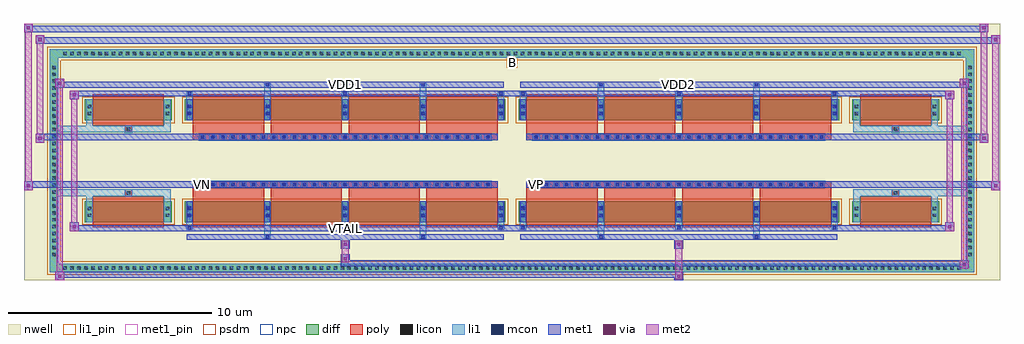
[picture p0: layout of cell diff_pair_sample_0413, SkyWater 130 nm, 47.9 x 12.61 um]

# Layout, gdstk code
import gdstk
lib = gdstk.Library(unit=1e-6, precision=5e-09)
def R(c, l, rs):  # rectangles x0, y0, x1, y1
    for r in rs: c.add(gdstk.rectangle(r[:2], r[2:], *l))
def A(c, l, x, y, w, h, nx, ny, dx, dy):  # array of equal rectangles
    R(c, l, [(x+i*dx, y+j*dy, x+i*dx+w, y+j*dy+h) for i in range(nx) for j in range(ny)])
def P(c, l, *ps):  # polygons
    for p in ps: c.add(gdstk.Polygon(p, *l))
nwell = (64, 20)
diff = (65, 20)
poly = (66, 20)
licon = (66, 44)
li1_pin = (67, 16)
li1 = (67, 20)
mcon = (67, 44)
met1_pin = (68, 16)
met1 = (68, 20)
via = (68, 44)
met2 = (69, 20)
psdm = (94, 20)
npc = (95, 20)

diff_pair_sample_0413 = lib.new_cell('diff_pair_sample_0413')
R(diff_pair_sample_0413, nwell, [(-23.95,-5.87,23.95,6.74), (-21.27,-4.06,-0.01,-0.8), (0.01,-4.06,21.27,-0.8), (-21.27,0.8,-0.01,4.06), (0.01,0.8,21.27,4.06)])
A(diff_pair_sample_0413, diff, -22.135, -5.47, 0.41, 0.41, 130, 2, 0.34, 10.53)
A(diff_pair_sample_0413, diff, -22.68, -4.795, 0.41, 0.41, 1, 28, 0, 0.34)
A(diff_pair_sample_0413, diff, 22.27, -4.795, 0.41, 0.41, 1, 28, 0, 0.34)
R(diff_pair_sample_0413, diff, [(-22.135,-5.47,22.135,-5.06), (-22.68,-4.795,-22.27,4.795), (22.27,-4.795,22.68,4.795), (-20.96,-3.015,-16.69,-1.985), (-16.05,-3.015,-0.32,-1.985), (0.32,-3.015,16.05,-1.985), (16.69,-3.015,20.96,-1.985), (-20.96,1.985,-16.69,3.015), (-16.05,1.985,-0.32,3.015), (0.32,1.985,16.05,3.015), (16.69,1.985,20.96,3.015), (-22.135,5.06,22.135,5.47)])
P(diff_pair_sample_0413, diff, [(22.68,5.47),(-22.68,5.47),(-22.68,-5.06),(-22.27,-5.06),(-22.27,5.06),(22.27,5.06),(22.27,-5.06),(-22.27,-5.06),(-22.68,-5.06),(-22.68,-5.47),(22.68,-5.47)])
A(diff_pair_sample_0413, poly, -15.66, -3.265, 3.49, 1.53, 4, 2, 3.82, 5)
A(diff_pair_sample_0413, poly, 0.71, -3.265, 3.49, 1.53, 4, 2, 3.82, 5)
A(diff_pair_sample_0413, poly, -15.66, -1.735, 3.49, 0.405, 4, 2, 3.82, 3.065)
A(diff_pair_sample_0413, poly, 0.71, -1.735, 3.49, 0.405, 4, 2, 3.82, 3.065)
A(diff_pair_sample_0413, poly, -15.35, -1.33, 0.33, 0.33, 29, 2, 0.5, 2.33)
A(diff_pair_sample_0413, poly, 1.02, -1.33, 0.33, 0.33, 29, 2, 0.5, 2.33)
R(diff_pair_sample_0413, poly, [(-20.57,-3.265,-17.08,-1.735), (17.08,-3.265,20.57,-1.735), (-18.99,-1.735,-18.66,-1.405), (-18.99,-1.735,-18.66,-1.405), (18.66,-1.735,18.99,-1.405), (18.66,-1.735,18.99,-1.405), (-15.66,-1.33,-0.71,-1), (0.71,-1.33,15.66,-1), (-15.66,1,-0.71,1.33), (0.71,1,15.66,1.33), (-18.99,1.405,-18.66,1.735), (-18.99,1.405,-18.66,1.735), (18.66,1.405,18.99,1.735), (18.66,1.405,18.99,1.735), (-20.57,1.735,-17.08,3.265), (17.08,1.735,20.57,3.265)])
A(diff_pair_sample_0413, licon, -22.015, -5.35, 0.17, 0.17, 130, 2, 0.34, 10.53)
A(diff_pair_sample_0413, licon, -22.56, -4.675, 0.17, 0.17, 1, 28, 0, 0.34)
A(diff_pair_sample_0413, licon, 22.39, -4.675, 0.17, 0.17, 1, 28, 0, 0.34)
A(diff_pair_sample_0413, licon, -15.91, -2.755, 0.17, 0.17, 5, 2, 3.82, 0.34)
A(diff_pair_sample_0413, licon, 0.46, -2.755, 0.17, 0.17, 5, 2, 3.82, 0.34)
A(diff_pair_sample_0413, licon, -15.27, -1.25, 0.17, 0.17, 29, 2, 0.5, 2.33)
A(diff_pair_sample_0413, licon, 1.1, -1.25, 0.17, 0.17, 29, 2, 0.5, 2.33)
A(diff_pair_sample_0413, licon, -15.91, 2.245, 0.17, 0.17, 5, 2, 3.82, 0.34)
A(diff_pair_sample_0413, licon, 0.46, 2.245, 0.17, 0.17, 5, 2, 3.82, 0.34)
R(diff_pair_sample_0413, licon, [(-20.82,-2.755,-20.65,-2.585), (-17,-2.755,-16.83,-2.585), (16.83,-2.755,17,-2.585), (20.65,-2.755,20.82,-2.585), (-20.82,-2.415,-20.65,-2.245), (-17,-2.415,-16.83,-2.245), (16.83,-2.415,17,-2.245), (20.65,-2.415,20.82,-2.245), (-18.91,-1.655,-18.74,-1.485), (18.74,-1.655,18.91,-1.485), (-18.91,1.485,-18.74,1.655), (18.74,1.485,18.91,1.655), (-20.82,2.245,-20.65,2.415), (-17,2.245,-16.83,2.415), (16.83,2.245,17,2.415), (20.65,2.245,20.82,2.415), (-20.82,2.585,-20.65,2.755), (-17,2.585,-16.83,2.755), (16.83,2.585,17,2.755), (20.65,2.585,20.82,2.755)])
R(diff_pair_sample_0413, li1_pin, [(-0.25,4.56,0.25,5.06)])
A(diff_pair_sample_0413, li1, -22.095, -5.43, 0.33, 0.33, 130, 2, 0.34, 10.53)
A(diff_pair_sample_0413, li1, -22.64, -4.755, 0.33, 0.33, 1, 28, 0, 0.34)
A(diff_pair_sample_0413, li1, 22.31, -4.755, 0.33, 0.33, 1, 28, 0, 0.34)
A(diff_pair_sample_0413, li1, -15.99, -3.39, 0.33, 0.375, 3, 2, 7.64, 6.405)
A(diff_pair_sample_0413, li1, -15.91, -3.39, 0.17, 0.17, 3, 2, 7.64, 6.61)
A(diff_pair_sample_0413, li1, 0.38, -3.39, 0.33, 0.375, 3, 2, 7.64, 6.405)
A(diff_pair_sample_0413, li1, 0.46, -3.39, 0.17, 0.17, 3, 2, 7.64, 6.61)
A(diff_pair_sample_0413, li1, -15.99, -3.015, 0.33, 1.03, 5, 2, 3.82, 5)
A(diff_pair_sample_0413, li1, 0.38, -3.015, 0.33, 1.03, 5, 2, 3.82, 5)
A(diff_pair_sample_0413, li1, -15.99, -2.835, 0.33, 0.33, 5, 2, 3.82, 0.34)
A(diff_pair_sample_0413, li1, 0.38, -2.835, 0.33, 0.33, 5, 2, 3.82, 0.34)
A(diff_pair_sample_0413, li1, -15.91, -2.765, 0.17, 0.17, 5, 2, 3.82, 0.36)
A(diff_pair_sample_0413, li1, -15.91, -2.765, 0.17, 0.53, 5, 2, 3.82, 5)
A(diff_pair_sample_0413, li1, 0.46, -2.765, 0.17, 0.17, 5, 2, 3.82, 0.36)
A(diff_pair_sample_0413, li1, 0.46, -2.765, 0.17, 0.53, 5, 2, 3.82, 5)
A(diff_pair_sample_0413, li1, -15.35, -1.33, 0.33, 0.33, 29, 2, 0.5, 2.33)
A(diff_pair_sample_0413, li1, 1.02, -1.33, 0.33, 0.33, 29, 2, 0.5, 2.33)
A(diff_pair_sample_0413, li1, -15.99, 2.165, 0.33, 0.33, 5, 2, 3.82, 0.34)
A(diff_pair_sample_0413, li1, 0.38, 2.165, 0.33, 0.33, 5, 2, 3.82, 0.34)
A(diff_pair_sample_0413, li1, -15.91, 2.235, 0.17, 0.17, 5, 2, 3.82, 0.36)
A(diff_pair_sample_0413, li1, 0.46, 2.235, 0.17, 0.17, 5, 2, 3.82, 0.36)
R(diff_pair_sample_0413, li1, [(-22.68,-5.47,-22.27,-5.06), (-22.68,-5.47,-22.27,-5.06), (-22.27,-5.47,22.27,-5.06), (22.27,-5.47,22.68,-5.06), (22.27,-5.47,22.68,-5.06), (-22.68,-5.06,-22.27,5.06), (22.27,-5.06,22.68,5.06), (-12.17,-3.82,-11.84,-3.015), (-12.09,-3.82,-11.92,-3.65), (-4.53,-3.82,-4.2,-3.015), (-4.45,-3.82,-4.28,-3.65), (4.2,-3.82,4.53,-3.015), (4.28,-3.82,4.45,-3.65), (11.84,-3.82,12.17,-3.015), (11.92,-3.82,12.09,-3.65), (-20.9,-3.015,-20.57,-1.985), (-17.08,-3.015,-16.75,-1.985), (16.75,-3.015,17.08,-1.985), (20.57,-3.015,20.9,-1.985), (-20.9,-2.835,-20.57,-2.505), (-17.08,-2.835,-16.75,-2.505), (16.75,-2.835,17.08,-2.505), (20.57,-2.835,20.9,-2.505), (-20.9,-2.495,-20.57,-2.165), (-17.08,-2.495,-16.75,-2.165), (16.75,-2.495,17.08,-2.165), (20.57,-2.495,20.9,-2.165), (-20.9,-1.985,-20.57,-1.405), (-17.08,-1.985,-16.75,-1.405), (16.75,-1.985,17.08,-1.405), (20.57,-1.985,20.9,-1.405), (-22.68,-1.735,-18.99,-1.405), (-20.9,-1.735,-18.99,-1.405), (-18.99,-1.735,-18.66,-1.405), (-18.66,-1.735,-16.75,-1.405), (16.75,-1.735,18.66,-1.405), (18.66,-1.735,18.99,-1.405), (18.66,-1.735,22.68,-1.405), (18.99,-1.735,20.9,-1.405), (-22.68,1.405,-18.99,1.735), (-20.9,1.405,-18.99,1.735), (-20.9,1.405,-20.57,1.985), (-18.99,1.405,-18.66,1.735), (-18.66,1.405,-16.75,1.735), (-17.08,1.405,-16.75,1.985), (16.75,1.405,18.66,1.735), (16.75,1.405,17.08,1.985), (18.66,1.405,18.99,1.735), (18.66,1.405,22.68,1.735), (18.99,1.405,20.9,1.735), (20.57,1.405,20.9,1.985), (-20.9,1.985,-20.57,3.015), (-17.08,1.985,-16.75,3.015), (16.75,1.985,17.08,3.015), (20.57,1.985,20.9,3.015), (-20.9,2.165,-20.57,2.495), (-17.08,2.165,-16.75,2.495), (16.75,2.165,17.08,2.495), (20.57,2.165,20.9,2.495), (-20.9,2.505,-20.57,2.835), (-17.08,2.505,-16.75,2.835), (16.75,2.505,17.08,2.835), (20.57,2.505,20.9,2.835), (-12.17,3.015,-11.84,3.82), (-4.53,3.015,-4.2,3.82), (4.2,3.015,4.53,3.82), (11.84,3.015,12.17,3.82), (-12.09,3.65,-11.92,3.82), (-4.45,3.65,-4.28,3.82), (4.28,3.65,4.45,3.82), (11.92,3.65,12.09,3.82), (-22.68,5.06,-22.27,5.47), (-22.68,5.06,-22.27,5.47), (-22.27,5.06,22.27,5.47), (22.27,5.06,22.68,5.47), (22.27,5.06,22.68,5.47)])
A(diff_pair_sample_0413, mcon, -15.91, -3.39, 0.17, 0.17, 3, 2, 7.64, 6.61)
A(diff_pair_sample_0413, mcon, 0.46, -3.39, 0.17, 0.17, 3, 2, 7.64, 6.61)
A(diff_pair_sample_0413, mcon, -15.91, -2.765, 0.17, 0.17, 5, 2, 3.82, 0.36)
A(diff_pair_sample_0413, mcon, 0.46, -2.765, 0.17, 0.17, 5, 2, 3.82, 0.36)
A(diff_pair_sample_0413, mcon, -15.27, -1.25, 0.17, 0.17, 29, 2, 0.5, 2.33)
A(diff_pair_sample_0413, mcon, 1.1, -1.25, 0.17, 0.17, 29, 2, 0.5, 2.33)
A(diff_pair_sample_0413, mcon, -15.91, 2.235, 0.17, 0.17, 5, 2, 3.82, 0.36)
A(diff_pair_sample_0413, mcon, 0.46, 2.235, 0.17, 0.17, 5, 2, 3.82, 0.36)
R(diff_pair_sample_0413, mcon, [(-12.09,-3.82,-11.92,-3.65), (-4.45,-3.82,-4.28,-3.65), (4.28,-3.82,4.45,-3.65), (11.92,-3.82,12.09,-3.65), (-12.09,3.65,-11.92,3.82), (-4.45,3.65,-4.28,3.82), (4.28,3.65,4.45,3.82), (11.92,3.65,12.09,3.82)])
R(diff_pair_sample_0413, met1_pin, [(-8.32,-3.43,-8.05,-3.16), (-15.32,-1.29,-15.05,-1.02), (1.05,-1.29,1.32,-1.02), (-8.32,3.61,-8.05,3.88), (8.05,3.61,8.32,3.88)])
A(diff_pair_sample_0413, met1, -15.97, -3.45, 0.29, 0.29, 3, 2, 7.64, 6.61)
A(diff_pair_sample_0413, met1, 0.4, -3.45, 0.29, 0.29, 3, 2, 7.64, 6.61)
A(diff_pair_sample_0413, met1, -15.97, -3.015, 0.29, 1.03, 5, 2, 3.82, 5)
A(diff_pair_sample_0413, met1, 0.4, -3.015, 0.29, 1.03, 5, 2, 3.82, 5)
A(diff_pair_sample_0413, met1, -15.97, -2.825, 0.29, 0.29, 5, 2, 3.82, 0.36)
A(diff_pair_sample_0413, met1, 0.4, -2.825, 0.29, 0.29, 5, 2, 3.82, 0.36)
A(diff_pair_sample_0413, met1, -15.33, -1.31, 0.29, 0.29, 29, 2, 0.5, 2.33)
A(diff_pair_sample_0413, met1, 1.04, -1.31, 0.29, 0.29, 29, 2, 0.5, 2.33)
A(diff_pair_sample_0413, met1, -15.97, 2.175, 0.29, 0.29, 5, 2, 3.82, 0.36)
A(diff_pair_sample_0413, met1, 0.4, 2.175, 0.29, 0.29, 5, 2, 3.82, 0.36)
R(diff_pair_sample_0413, met1, [(-22.41,-5.87,-21.98,-5.44), (7.97,-5.87,8.4,-5.44), (-22.41,-5.73,8.4,-5.44), (21.98,-5.3,22.41,-4.87), (-8.4,-5.16,22.41,-4.87), (-8.4,-5.02,-7.97,-4.59), (-8.4,-4.31,-7.97,-3.88), (7.97,-4.31,8.4,-3.88), (-15.97,-3.88,-0.4,-3.59), (-12.15,-3.88,-11.86,-3.59), (-4.51,-3.88,-4.22,-3.59), (0.4,-3.88,15.97,-3.59), (4.22,-3.88,4.51,-3.59), (11.86,-3.88,12.15,-3.59), (-21.7,-3.45,-21.27,-3.02), (-21.7,-3.45,-15.97,-3.16), (-15.97,-3.45,-0.4,-3.16), (-0.4,-3.45,0.4,-3.16), (0.4,-3.45,15.97,-3.16), (15.97,-3.45,21.7,-3.16), (21.27,-3.45,21.7,-3.02), (-23.95,-1.43,-23.52,-1), (23.52,-1.43,23.95,-1), (-23.95,-1.33,-0.71,-1), (-15.66,-1.33,-0.71,-1), (0.71,-1.33,15.66,-1), (0.71,-1.33,23.95,-1), (-23.38,0.9,-22.95,1.33), (22.95,0.9,23.38,1.33), (-23.38,1,-15.66,1.33), (-15.66,1,-0.71,1.33), (0.71,1,15.66,1.33), (15.66,1,23.38,1.33), (-21.7,3.02,-21.27,3.45), (21.27,3.02,21.7,3.45), (-21.7,3.16,-15.97,3.45), (-15.97,3.16,-0.4,3.45), (-0.4,3.16,0.4,3.45), (0.4,3.16,15.97,3.45), (15.97,3.16,21.7,3.45), (-22.41,3.59,-21.98,4.02), (-22.41,3.59,-15.97,3.88), (-15.97,3.59,-0.4,3.88), (-12.15,3.59,-11.86,3.88), (-4.51,3.59,-4.22,3.88), (0.4,3.59,15.97,3.88), (4.22,3.59,4.51,3.88), (11.86,3.59,12.15,3.88), (15.97,3.59,22.41,3.88), (21.98,3.59,22.41,4.02), (-23.38,5.74,-22.95,6.17), (-23.38,5.74,-21.27,6.07), (-21.27,5.74,21.27,6.07), (21.27,5.74,23.95,6.07), (23.52,5.74,23.95,6.17), (-23.95,6.31,-23.52,6.74), (-23.95,6.31,-21.27,6.64), (-21.27,6.31,21.27,6.64), (21.27,6.31,23.38,6.64), (22.95,6.31,23.38,6.74)])
R(diff_pair_sample_0413, via, [(-22.27,-5.73,-22.12,-5.58), (8.11,-5.73,8.26,-5.58), (22.12,-5.16,22.27,-5.01), (-8.26,-4.88,-8.11,-4.73), (-8.26,-4.17,-8.11,-4.02), (8.11,-4.17,8.26,-4.02), (-21.56,-3.31,-21.41,-3.16), (21.41,-3.31,21.56,-3.16), (-23.81,-1.29,-23.66,-1.14), (23.66,-1.29,23.81,-1.14), (-23.24,1.04,-23.09,1.19), (23.09,1.04,23.24,1.19), (-21.56,3.16,-21.41,3.31), (21.41,3.16,21.56,3.31), (-22.27,3.73,-22.12,3.88), (22.12,3.73,22.27,3.88), (-23.24,5.88,-23.09,6.03), (23.66,5.88,23.81,6.03), (-23.81,6.45,-23.66,6.6), (23.09,6.45,23.24,6.6)])
R(diff_pair_sample_0413, met2, [(-22.41,-5.87,-21.98,-5.44), (-22.34,-5.87,-22.05,4.02), (-22.05,-5.87,-21.98,-5.44), (-22.36,-5.82,-22.03,-5.49), (8.02,-5.82,8.35,-5.49), (8.02,-5.49,8.35,-4.26), (21.98,-5.3,22.41,-4.87), (22.05,-5.3,22.34,4.02), (22.34,-5.3,22.41,-4.87), (22.03,-5.25,22.36,-4.92), (-8.35,-4.97,-8.02,-4.64), (-8.35,-4.64,-8.02,-4.26), (-8.35,-4.26,-8.02,-3.93), (8.02,-4.26,8.35,-3.93), (-21.7,-3.45,-21.27,-3.02), (-21.63,-3.45,-21.34,3.45), (-21.34,-3.45,-21.27,-3.02), (21.27,-3.45,21.7,-3.02), (21.34,-3.45,21.63,3.45), (21.63,-3.45,21.7,-3.02), (-21.65,-3.4,-21.32,-3.07), (21.32,-3.4,21.65,-3.07), (-23.95,-1.43,-23.52,-1), (-23.9,-1.43,-23.57,6.74), (-23.57,-1.43,-23.52,-1), (23.52,-1.43,23.95,-1), (23.57,-1.43,23.9,6.17), (23.9,-1.43,23.95,-1), (-23.9,-1.38,-23.57,-1.05), (23.57,-1.38,23.9,-1.05), (-23.38,0.9,-22.95,1.33), (-23.33,0.9,-23,6.17), (-23,0.9,-22.95,1.33), (22.95,0.9,23.38,1.33), (23,0.9,23.33,6.74), (23.33,0.9,23.38,1.33), (-23.33,0.95,-23,1.28), (23,0.95,23.33,1.28), (-21.7,3.02,-21.27,3.45), (-21.34,3.02,-21.27,3.45), (21.27,3.02,21.7,3.45), (21.63,3.02,21.7,3.45), (-21.65,3.07,-21.32,3.4), (21.32,3.07,21.65,3.4), (-22.41,3.59,-21.98,4.02), (-22.05,3.59,-21.98,4.02), (21.98,3.59,22.41,4.02), (22.34,3.59,22.41,4.02), (-22.36,3.64,-22.03,3.97), (22.03,3.64,22.36,3.97), (-23.38,5.74,-22.95,6.17), (-23,5.74,-22.95,6.17), (23.52,5.74,23.95,6.17), (23.9,5.74,23.95,6.17), (-23.33,5.79,-23,6.12), (23.57,5.79,23.9,6.12), (-23.95,6.31,-23.52,6.74), (-23.57,6.31,-23.52,6.74), (22.95,6.31,23.38,6.74), (23.33,6.31,23.38,6.74), (-23.9,6.36,-23.57,6.69), (23,6.36,23.33,6.69)])
R(diff_pair_sample_0413, psdm, [(-21.09,-3.145,-16.56,-1.855), (-16.18,-3.145,-0.19,-1.855), (0.19,-3.145,16.18,-1.855), (16.56,-3.145,21.09,-1.855), (-21.09,1.855,-16.56,3.145), (-16.18,1.855,-0.19,3.145), (0.19,1.855,16.18,3.145), (16.56,1.855,21.09,3.145)])
P(diff_pair_sample_0413, psdm, [(22.81,5.6),(-22.81,5.6),(-22.81,-4.93),(-22.14,-4.93),(-22.14,4.93),(22.14,4.93),(22.14,-4.93),(-22.14,-4.93),(-22.81,-4.93),(-22.81,-5.6),(22.81,-5.6)])
A(diff_pair_sample_0413, npc, -15.37, -1.35, 0.37, 0.37, 29, 2, 0.5, 2.33)
A(diff_pair_sample_0413, npc, 1, -1.35, 0.37, 0.37, 29, 2, 0.5, 2.33)
R(diff_pair_sample_0413, npc, [(-19.01,-1.755,-18.64,-1.385), (18.64,-1.755,19.01,-1.385), (-15.37,-1.35,-14.5,-0.98), (-15.37,-1.35,-14.5,-0.98), (-14.87,-1.35,-14,-0.98), (-14.87,-1.35,-14,-0.98), (-14.37,-1.35,-13.5,-0.98), (-14.37,-1.35,-13.5,-0.98), (-13.87,-1.35,-13,-0.98), (-13.87,-1.35,-13,-0.98), (-13.37,-1.35,-12.5,-0.98), (-13.37,-1.35,-12.5,-0.98), (-12.87,-1.35,-12,-0.98), (-12.87,-1.35,-12,-0.98), (-12.37,-1.35,-11.5,-0.98), (-12.37,-1.35,-11.5,-0.98), (-11.87,-1.35,-11,-0.98), (-11.87,-1.35,-11,-0.98), (-11.37,-1.35,-10.5,-0.98), (-11.37,-1.35,-10.5,-0.98), (-10.87,-1.35,-10,-0.98), (-10.87,-1.35,-10,-0.98), (-10.37,-1.35,-9.5,-0.98), (-10.37,-1.35,-9.5,-0.98), (-9.87,-1.35,-9,-0.98), (-9.87,-1.35,-9,-0.98), (-9.37,-1.35,-8.5,-0.98), (-9.37,-1.35,-8.5,-0.98), (-8.87,-1.35,-8,-0.98), (-8.87,-1.35,-8,-0.98), (-8.37,-1.35,-7.5,-0.98), (-8.37,-1.35,-7.5,-0.98), (-7.87,-1.35,-7,-0.98), (-7.87,-1.35,-7,-0.98), (-7.37,-1.35,-6.5,-0.98), (-7.37,-1.35,-6.5,-0.98), (-6.87,-1.35,-6,-0.98), (-6.87,-1.35,-6,-0.98), (-6.37,-1.35,-5.5,-0.98), (-6.37,-1.35,-5.5,-0.98), (-5.87,-1.35,-5,-0.98), (-5.87,-1.35,-5,-0.98), (-5.37,-1.35,-4.5,-0.98), (-5.37,-1.35,-4.5,-0.98), (-4.87,-1.35,-4,-0.98), (-4.87,-1.35,-4,-0.98), (-4.37,-1.35,-3.5,-0.98), (-4.37,-1.35,-3.5,-0.98), (-3.87,-1.35,-3,-0.98), (-3.87,-1.35,-3,-0.98), (-3.37,-1.35,-2.5,-0.98), (-3.37,-1.35,-2.5,-0.98), (-2.87,-1.35,-2,-0.98), (-2.87,-1.35,-2,-0.98), (-2.37,-1.35,-1.5,-0.98), (-2.37,-1.35,-1.5,-0.98), (-1.87,-1.35,-1,-0.98), (-1.87,-1.35,-1,-0.98), (1,-1.35,1.87,-0.98), (1,-1.35,1.87,-0.98), (1.5,-1.35,2.37,-0.98), (1.5,-1.35,2.37,-0.98), (2,-1.35,2.87,-0.98), (2,-1.35,2.87,-0.98), (2.5,-1.35,3.37,-0.98), (2.5,-1.35,3.37,-0.98), (3,-1.35,3.87,-0.98), (3,-1.35,3.87,-0.98), (3.5,-1.35,4.37,-0.98), (3.5,-1.35,4.37,-0.98), (4,-1.35,4.87,-0.98), (4,-1.35,4.87,-0.98), (4.5,-1.35,5.37,-0.98), (4.5,-1.35,5.37,-0.98), (5,-1.35,5.87,-0.98), (5,-1.35,5.87,-0.98), (5.5,-1.35,6.37,-0.98), (5.5,-1.35,6.37,-0.98), (6,-1.35,6.87,-0.98), (6,-1.35,6.87,-0.98), (6.5,-1.35,7.37,-0.98), (6.5,-1.35,7.37,-0.98), (7,-1.35,7.87,-0.98), (7,-1.35,7.87,-0.98), (7.5,-1.35,8.37,-0.98), (7.5,-1.35,8.37,-0.98), (8,-1.35,8.87,-0.98), (8,-1.35,8.87,-0.98), (8.5,-1.35,9.37,-0.98), (8.5,-1.35,9.37,-0.98), (9,-1.35,9.87,-0.98), (9,-1.35,9.87,-0.98), (9.5,-1.35,10.37,-0.98), (9.5,-1.35,10.37,-0.98), (10,-1.35,10.87,-0.98), (10,-1.35,10.87,-0.98), (10.5,-1.35,11.37,-0.98), (10.5,-1.35,11.37,-0.98), (11,-1.35,11.87,-0.98), (11,-1.35,11.87,-0.98), (11.5,-1.35,12.37,-0.98), (11.5,-1.35,12.37,-0.98), (12,-1.35,12.87,-0.98), (12,-1.35,12.87,-0.98), (12.5,-1.35,13.37,-0.98), (12.5,-1.35,13.37,-0.98), (13,-1.35,13.87,-0.98), (13,-1.35,13.87,-0.98), (13.5,-1.35,14.37,-0.98), (13.5,-1.35,14.37,-0.98), (14,-1.35,14.87,-0.98), (14,-1.35,14.87,-0.98), (14.5,-1.35,15.37,-0.98), (14.5,-1.35,15.37,-0.98), (-15.37,0.98,-14.5,1.35), (-15.37,0.98,-14.5,1.35), (-14.87,0.98,-14,1.35), (-14.87,0.98,-14,1.35), (-14.37,0.98,-13.5,1.35), (-14.37,0.98,-13.5,1.35), (-13.87,0.98,-13,1.35), (-13.87,0.98,-13,1.35), (-13.37,0.98,-12.5,1.35), (-13.37,0.98,-12.5,1.35), (-12.87,0.98,-12,1.35), (-12.87,0.98,-12,1.35), (-12.37,0.98,-11.5,1.35), (-12.37,0.98,-11.5,1.35), (-11.87,0.98,-11,1.35), (-11.87,0.98,-11,1.35), (-11.37,0.98,-10.5,1.35), (-11.37,0.98,-10.5,1.35), (-10.87,0.98,-10,1.35), (-10.87,0.98,-10,1.35), (-10.37,0.98,-9.5,1.35), (-10.37,0.98,-9.5,1.35), (-9.87,0.98,-9,1.35), (-9.87,0.98,-9,1.35), (-9.37,0.98,-8.5,1.35), (-9.37,0.98,-8.5,1.35), (-8.87,0.98,-8,1.35), (-8.87,0.98,-8,1.35), (-8.37,0.98,-7.5,1.35), (-8.37,0.98,-7.5,1.35), (-7.87,0.98,-7,1.35), (-7.87,0.98,-7,1.35), (-7.37,0.98,-6.5,1.35), (-7.37,0.98,-6.5,1.35), (-6.87,0.98,-6,1.35), (-6.87,0.98,-6,1.35), (-6.37,0.98,-5.5,1.35), (-6.37,0.98,-5.5,1.35), (-5.87,0.98,-5,1.35), (-5.87,0.98,-5,1.35), (-5.37,0.98,-4.5,1.35), (-5.37,0.98,-4.5,1.35), (-4.87,0.98,-4,1.35), (-4.87,0.98,-4,1.35), (-4.37,0.98,-3.5,1.35), (-4.37,0.98,-3.5,1.35), (-3.87,0.98,-3,1.35), (-3.87,0.98,-3,1.35), (-3.37,0.98,-2.5,1.35), (-3.37,0.98,-2.5,1.35), (-2.87,0.98,-2,1.35), (-2.87,0.98,-2,1.35), (-2.37,0.98,-1.5,1.35), (-2.37,0.98,-1.5,1.35), (-1.87,0.98,-1,1.35), (-1.87,0.98,-1,1.35), (1,0.98,1.87,1.35), (1,0.98,1.87,1.35), (1.5,0.98,2.37,1.35), (1.5,0.98,2.37,1.35), (2,0.98,2.87,1.35), (2,0.98,2.87,1.35), (2.5,0.98,3.37,1.35), (2.5,0.98,3.37,1.35), (3,0.98,3.87,1.35), (3,0.98,3.87,1.35), (3.5,0.98,4.37,1.35), (3.5,0.98,4.37,1.35), (4,0.98,4.87,1.35), (4,0.98,4.87,1.35), (4.5,0.98,5.37,1.35), (4.5,0.98,5.37,1.35), (5,0.98,5.87,1.35), (5,0.98,5.87,1.35), (5.5,0.98,6.37,1.35), (5.5,0.98,6.37,1.35), (6,0.98,6.87,1.35), (6,0.98,6.87,1.35), (6.5,0.98,7.37,1.35), (6.5,0.98,7.37,1.35), (7,0.98,7.87,1.35), (7,0.98,7.87,1.35), (7.5,0.98,8.37,1.35), (7.5,0.98,8.37,1.35), (8,0.98,8.87,1.35), (8,0.98,8.87,1.35), (8.5,0.98,9.37,1.35), (8.5,0.98,9.37,1.35), (9,0.98,9.87,1.35), (9,0.98,9.87,1.35), (9.5,0.98,10.37,1.35), (9.5,0.98,10.37,1.35), (10,0.98,10.87,1.35), (10,0.98,10.87,1.35), (10.5,0.98,11.37,1.35), (10.5,0.98,11.37,1.35), (11,0.98,11.87,1.35), (11,0.98,11.87,1.35), (11.5,0.98,12.37,1.35), (11.5,0.98,12.37,1.35), (12,0.98,12.87,1.35), (12,0.98,12.87,1.35), (12.5,0.98,13.37,1.35), (12.5,0.98,13.37,1.35), (13,0.98,13.87,1.35), (13,0.98,13.87,1.35), (13.5,0.98,14.37,1.35), (13.5,0.98,14.37,1.35), (14,0.98,14.87,1.35), (14,0.98,14.87,1.35), (14.5,0.98,15.37,1.35), (14.5,0.98,15.37,1.35), (-19.01,1.385,-18.64,1.755), (18.64,1.385,19.01,1.755)])
diff_pair_sample_0413.add(gdstk.Label('VTAIL', (-8.185,-3.295), layer=68, texttype=5))
diff_pair_sample_0413.add(gdstk.Label('VN', (-15.185,-1.155), layer=68, texttype=5))
diff_pair_sample_0413.add(gdstk.Label('VP', (1.185,-1.155), layer=68, texttype=5))
diff_pair_sample_0413.add(gdstk.Label('B', (0,4.81), layer=67, texttype=5))
diff_pair_sample_0413.add(gdstk.Label('VDD2', (8.185,3.745), layer=68, texttype=5))
diff_pair_sample_0413.add(gdstk.Label('VDD1', (-8.185,3.745), layer=68, texttype=5))

lib.write_gds('diff_pair_sample_0413.gds')
